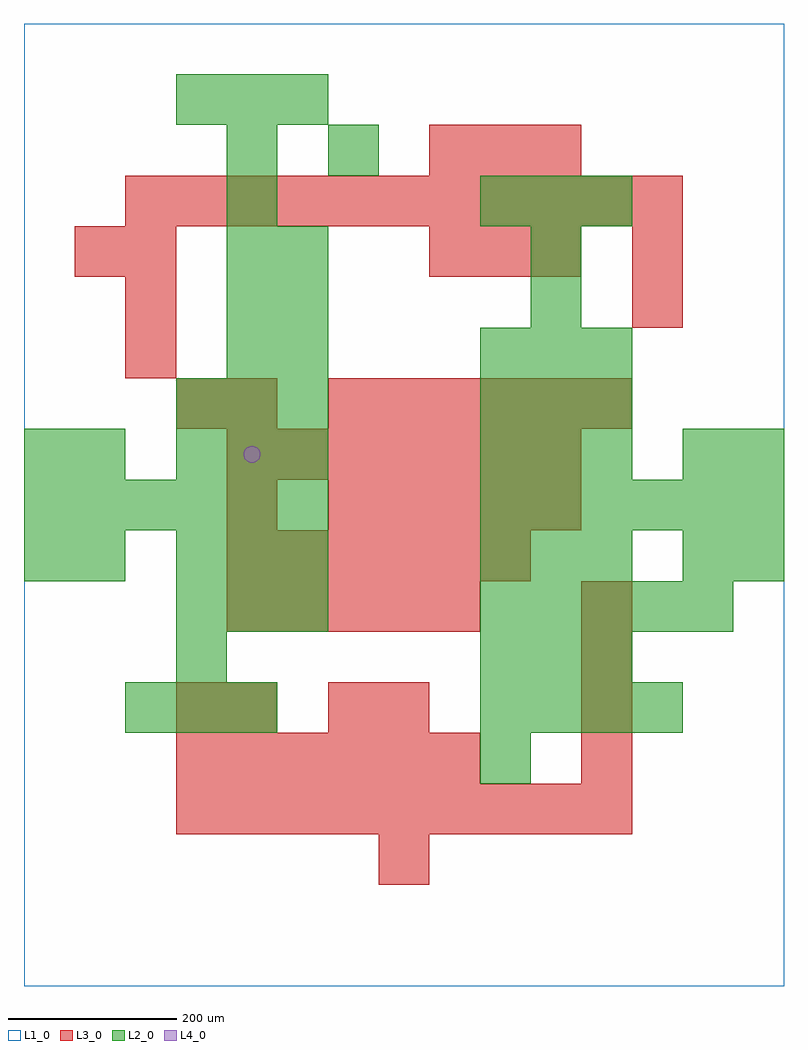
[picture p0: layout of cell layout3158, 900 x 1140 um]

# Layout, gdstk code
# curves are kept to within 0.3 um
import gdstk
lib = gdstk.Library(unit=1e-6, precision=1e-09)
def R(c, l, rs):  # rectangles x0, y0, x1, y1
    for r in rs: c.add(gdstk.rectangle(r[:2], r[2:], *l))
def A(c, l, x, y, w, h, nx, ny, dx, dy):  # array of equal rectangles
    R(c, l, [(x+i*dx, y+j*dy, x+i*dx+w, y+j*dy+h) for i in range(nx) for j in range(ny)])
def P(c, l, *ps):  # polygons
    for p in ps: c.add(gdstk.Polygon(p, *l))
L1_0 = (1, 0)
L2_0 = (2, 0)
L3_0 = (3, 0)
L4_0 = (4, 0)

layout3158 = lib.new_cell('layout3158')
R(layout3158, L1_0, [(0,0,900,1140)])
A(layout3158, L2_0, 120, 300, 60, 60, 3, 1, 60, 0)
A(layout3158, L2_0, 540, 300, 60, 60, 4, 1, 60, 0)
A(layout3158, L2_0, 540, 360, 60, 60, 3, 3, 60, 120)
A(layout3158, L2_0, 180, 420, 60, 60, 3, 2, 60, 60)
A(layout3158, L2_0, 540, 420, 60, 60, 5, 1, 60, 0)
A(layout3158, L2_0, 0, 540, 60, 60, 6, 1, 60, 0)
A(layout3158, L2_0, 540, 540, 60, 60, 6, 1, 60, 0)
A(layout3158, L2_0, 180, 600, 60, 60, 3, 2, 60, 60)
A(layout3158, L2_0, 540, 660, 60, 60, 3, 2, 60, 60)
A(layout3158, L2_0, 240, 720, 60, 60, 1, 5, 0, 60)
A(layout3158, L2_0, 300, 720, 60, 60, 1, 3, 0, 60)
A(layout3158, L2_0, 540, 900, 60, 60, 3, 1, 60, 0)
A(layout3158, L2_0, 180, 1020, 60, 60, 3, 1, 60, 0)
R(layout3158, L2_0, [(540,240,600,300), (180,360,240,420), (0,480,60,540), (60,480,120,540), (780,480,840,540), (840,480,900,540), (0,600,60,660), (60,600,120,660), (780,600,840,660), (840,600,900,660), (600,780,660,840), (600,840,660,900), (360,960,420,1020)])
A(layout3158, L3_0, 180, 180, 60, 60, 9, 1, 60, 0)
A(layout3158, L3_0, 180, 240, 60, 60, 6, 1, 60, 0)
A(layout3158, L3_0, 660, 240, 60, 60, 1, 4, 0, 60)
A(layout3158, L3_0, 240, 420, 60, 60, 5, 1, 60, 0)
A(layout3158, L3_0, 240, 480, 60, 60, 6, 1, 60, 0)
A(layout3158, L3_0, 360, 540, 60, 60, 5, 1, 60, 0)
A(layout3158, L3_0, 240, 600, 60, 60, 7, 1, 60, 0)
A(layout3158, L3_0, 360, 660, 60, 60, 6, 1, 60, 0)
A(layout3158, L3_0, 120, 720, 60, 60, 1, 3, 0, 60)
A(layout3158, L3_0, 480, 840, 60, 60, 3, 2, 60, 120)
A(layout3158, L3_0, 120, 900, 60, 60, 11, 1, 60, 0)
R(layout3158, L3_0, [(420,120,480,180), (180,300,240,360), (240,300,300,360), (360,300,420,360), (420,300,480,360), (240,540,300,600), (180,660,240,720), (240,660,300,720), (720,780,780,840), (60,840,120,900), (720,840,780,900)])
P(layout3158, L4_0, [(280,630),(279.239,633.827),(277.071,637.071),(273.827,639.239),(270,640),(266.173,639.239),(262.929,637.071),(260.761,633.827),(260,630),(260.761,626.173),(262.929,622.929),(266.173,620.761),(270,620),(273.827,620.761),(277.071,622.929),(279.239,626.173)])

lib.write_gds('layout3158.gds')
